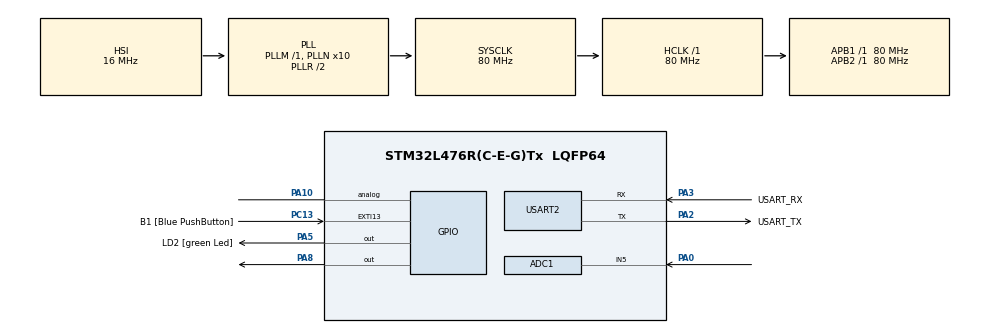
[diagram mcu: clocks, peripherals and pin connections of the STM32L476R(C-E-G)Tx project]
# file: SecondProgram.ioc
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ADC1.Channel-1\#ChannelRegularConversion=ADC_CHANNEL_5
ADC1.DMAContinuousRequests=ENABLE
ADC1.NbrOfConversionFlag=1
ADC1.OffsetNumber-1\#ChannelRegularConversion=ADC_OFFSET_NONE
ADC1.Rank-1\#ChannelRegularConversion=1
ADC1.SamplingTime-1\#ChannelRegularConversion=ADC_SAMPLETIME_2CYCLES_5
ADC1.master=1
Dma.ADC1.0.Direction=DMA_PERIPH_TO_MEMORY
Dma.ADC1.0.Instance=DMA1_Channel1
Dma.ADC1.0.MemDataAlignment=DMA_MDATAALIGN_HALFWORD
Dma.ADC1.0.MemInc=DMA_MINC_ENABLE
Dma.ADC1.0.Mode=DMA_NORMAL
Dma.ADC1.0.PeriphDataAlignment=DMA_PDATAALIGN_HALFWORD
Dma.ADC1.0.PeriphInc=DMA_PINC_DISABLE
Dma.ADC1.0.Priority=DMA_PRIORITY_LOW
Dma.Request0=ADC1
Mcu.Family=STM32L4
Mcu.Name=STM32L476R(C-E-G)Tx
Mcu.Package=LQFP64
NVIC.DMA1_Channel1_IRQn=true\:0\:0\:false\:false\:true\:false\:true
NVIC.PriorityGroup=NVIC_PRIORITYGROUP_4
PA0.Signal=ADCx_IN5
PA10.Signal=GPIO_Analog
PA13\ (JTMS-SWDIO).GPIO_Label=TMS
PA13\ (JTMS-SWDIO).Mode=Serial_Wire
PA13\ (JTMS-SWDIO).Signal=SYS_JTMS-SWDIO
PA14\ (JTCK-SWCLK).GPIO_Label=TCK
PA14\ (JTCK-SWCLK).Mode=Serial_Wire
PA14\ (JTCK-SWCLK).Signal=SYS_JTCK-SWCLK
PA2.GPIO_Label=USART_TX
PA2.GPIO_Mode=GPIO_MODE_AF_PP
PA2.GPIO_PuPd=GPIO_NOPULL
PA2.GPIO_Speed=GPIO_SPEED_FREQ_VERY_HIGH
PA2.Mode=Asynchronous
PA2.Signal=USART2_TX
PA3.GPIO_Label=USART_RX
PA3.GPIO_Mode=GPIO_MODE_AF_PP
PA3.GPIO_PuPd=GPIO_NOPULL
PA3.GPIO_Speed=GPIO_SPEED_FREQ_VERY_HIGH
PA3.Mode=Asynchronous
PA3.Signal=USART2_RX
PA5.GPIO_Label=LD2 [green Led]
PA5.GPIO_ModeDefaultOutputPP=GPIO_MODE_OUTPUT_PP
PA5.GPIO_PuPd=GPIO_NOPULL
PA5.GPIO_Speed=GPIO_SPEED_FREQ_LOW
PA5.Signal=GPIO_Output
PA8.Signal=GPIO_Output
PB3\ (JTDO-TRACESWO).GPIO_Label=SWO
PB3\ (JTDO-TRACESWO).Signal=SYS_JTDO-SWO
PC13.GPIO_Label=B1 [Blue PushButton]
PC13.GPIO_ModeDefaultEXTI=GPIO_MODE_IT_FALLING
PC13.GPIO_PuPd=GPIO_NOPULL
PC13.Signal=GPXTI13
PC14-OSC32_IN\ (PC14).Mode=LSE-External-Oscillator
PC14-OSC32_IN\ (PC14).Signal=RCC_OSC32_IN
PC15-OSC32_OUT\ (PC15).Mode=LSE-External-Oscillator
PC15-OSC32_OUT\ (PC15).Signal=RCC_OSC32_OUT
PH0-OSC_IN\ (PH0).Signal=RCC_OSC_IN
PH1-OSC_OUT\ (PH1).Signal=RCC_OSC_OUT
ProjectManager.HeapSize=0x200
ProjectManager.StackSize=0x400
ProjectManager.TargetToolchain=STM32CubeIDE
RCC.ADCFreq_Value=64000000
RCC.AHBFreq_Value=80000000
RCC.APB1Freq_Value=80000000
RCC.APB1TimFreq_Value=80000000
RCC.APB2Freq_Value=80000000
RCC.APB2TimFreq_Value=80000000
RCC.CortexFreq_Value=80000000
RCC.HCLKFreq_Value=80000000
RCC.HSE_VALUE=8000000
RCC.HSI_VALUE=16000000
RCC.MSI_VALUE=4000000
RCC.PLLN=10
RCC.PLLSourceVirtual=RCC_PLLSOURCE_HSI
RCC.PREFETCH_ENABLE=1
RCC.SYSCLKFreq_VALUE=80000000
RCC.SYSCLKSource=RCC_SYSCLKSOURCE_PLLCLK
RCC.USBFreq_Value=64000000
RCC.VCOOutputFreq_Value=160000000
SH.ADCx_IN5.0=ADC1_IN5,IN5-Single-Ended
TIM4.Period=0xffff
TIM4.Prescaler=80-1
USART2.VirtualMode-Asynchronous=VM_ASYNC
VP_TIM4_VS_ClockSourceINT.Mode=Internal
board=NUCLEO-L476RG

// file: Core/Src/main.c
/* USER CODE BEGIN Header */
/**
  ******************************************************************************
  * @file           : main.c
  * @brief          : Main program body
  ******************************************************************************
  * @attention
  *
  * <h2><center>&copy; Copyright (c) 2021 STMicroelectronics.
  * All rights reserved.</center></h2>
  *
  * This software component is licensed by ST under BSD 3-Clause license,
  * the "License"; You may not use this file except in compliance with the
  * License. You may obtain a copy of the License at:
  *                        opensource.org/licenses/BSD-3-Clause
  *
  ******************************************************************************
  */
/* USER CODE END Header */
#include "main.h"

/* USER CODE BEGIN Includes */
#include "dali.h"
#include "debug.h"
#include <stdio.h>
/* USER CODE END Includes */

ADC_HandleTypeDef hadc1;
DMA_HandleTypeDef hdma_adc1;

TIM_HandleTypeDef htim4;

UART_HandleTypeDef huart2;

/* USER CODE BEGIN PV */
void test(void);
void splitAdd(long input, uint8_t highbyte, uint8_t middlebyte, uint8_t lowbyte);
void initialisation(void);
void busTest(void);
uint16_t maxResponseLevel(void);
uint16_t minResponseLevel(void);
void delay_us(uint16_t us);
void transmit(uint8_t cmd1, uint8_t cmd2);
void sendByte(uint8_t b);
void sendBit(int b);
void sendZero(void);
void sendOne(void);
void scanShortAdd();
uint8_t recieve();

uint16_t CURRENT_TIMER4_COUNT =0;
uint16_t currentMillis = 0;
uint16_t systemMillis = 0;

uint8_t rx_Data[8];
#define BROADCAST_DP 		0b11111110				// Broadcast DIRECT ARC Power Control, BASE ADDRESS
#define OFF_DP 				0b00000000				//0 OFF, repeat=no, answer=no
#define UP_DP  				0b00000001				//1 UP, repeat=no, answer=no
#define DOWN_DP  			0b00000010				//2 DOWN, repeat=no, answer=no
#define STEP_DOWN_DP  		0b00001000				//4 STEP DOWN, repeat=no, answer=no
#define ON_AND_STEP_UP_DP  	0b00001000				//8 ON AND STEP UP, repeat=no, answer=no

#define BROADCAST_C 		0b11111111				// Broadcast INDIRECT (C), BASE ADDRESS
#define OFF_C 				0b00000000				//0 OFF, repeat=no, answer=no
#define UP_C  				0b00000001				//1 UP, repeat=no, answer=no
#define DOWN_C  			0b00000010				//2 DOWN, repeat=no, answer=no
#define STEP_UP_C  			0b00000100				//3 STEP UP, repeat=no, answer=no
#define STEP_DOWN_C  		0b00001000				//4 STEP DOWN, repeat=no, answer=no
#define RECALL_MAX_LEVEL_C 	0b00000101				//5 RECALL MAX LEVEL (Flash), repeat=no, answer=no
#define ON_C 				0b00000101

#define ON_AND_STEP_UP_C  	0b00001000				//8 ON AND STEP UP, repeat=no, answer=no
#define QUERY_STATUS		0b10010000				//144 Query Status, repeat=no, answer=yes
#define RESET 				0b00100000				//22 Reset, repeat=yes, answer=no

/* USER CODE END PV */

void SystemClock_Config(void);
static void MX_GPIO_Init(void);
static void MX_USART2_UART_Init(void);
static void MX_DMA_Init(void);
static void MX_ADC1_Init(void);
static void MX_TIM4_Init(void);

int main(void)
{

  /* MCU Configuration--------------------------------------------------------*/

  /* Reset of all peripherals, Initializes the Flash interface and the Systick. */
  HAL_Init();

  /* USER CODE BEGIN Init */
  //HAL_GPIO_WritePin(GPIOA, GPIO_PIN_10, GPIO_PIN_SET);		//set uitgang standaard hoog bij start

  /* USER CODE END Init */

  /* Configure the system clock */
  SystemClock_Config();

  /* Initialize all configured peripherals */
  MX_GPIO_Init();
  MX_USART2_UART_Init();
  MX_DMA_Init();
  MX_ADC1_Init();
  MX_TIM4_Init();
  /* USER CODE BEGIN 2 */
  printf("Start\r\n");
  HAL_GPIO_WritePin(GPIOA, GPIO_PIN_8, GPIO_PIN_SET);
  msgMode = true;

  //test();
  busTest();
  //initialisation();
  //msgMode = true;
  scanShortAdd();
  getResponse = false;

  /* USER CODE END 2 */

  /* Infinite loop */
  while (1)
  {

    /* USER CODE BEGIN 3 */
	  printf ("Main loop start\r\n");

		 HAL_GPIO_WritePin(GPIOA, GPIO_PIN_8, GPIO_PIN_SET);
		 transmit(BROADCAST_C, OFF_C);

		 HAL_Delay(2000);
		 transmit(BROADCAST_C, ON_AND_STEP_UP_C);
		 //transmit(0x01, 0xA1);
		 HAL_Delay(2000);

		 //HAL_Delay(2000);

		//HAL_ADC_Start(&hadc1);
		 //value_adc = HAL_ADC_GetValue(&hadc1);
		 //printf ("Analog input = %d\r\n", value_adc);

		 //delay_us(delay2);

		 //HAL_ADC_Start(&hadc1);
		 //value_adc = HAL_ADC_GetValue(&hadc1);
		 //printf ("Analog input = %d\r\n", value_adc);

    /* USER CODE BEGIN 3 */
  }
  /* USER CODE END 3 */
}

void SystemClock_Config(void)
{
  RCC_OscInitTypeDef RCC_OscInitStruct = {0};
  RCC_ClkInitTypeDef RCC_ClkInitStruct = {0};

  /** Configure the main internal regulator output voltage
  */
  if (HAL_PWREx_ControlVoltageScaling(PWR_REGULATOR_VOLTAGE_SCALE1) != HAL_OK)
  {
    Error_Handler();
  }
  /** Initializes the RCC Oscillators according to the specified parameters
  * in the RCC_OscInitTypeDef structure.
  */
  RCC_OscInitStruct.OscillatorType = RCC_OSCILLATORTYPE_HSI;
  RCC_OscInitStruct.HSIState = RCC_HSI_ON;
  RCC_OscInitStruct.HSICalibrationValue = RCC_HSICALIBRATION_DEFAULT;
  RCC_OscInitStruct.PLL.PLLState = RCC_PLL_ON;
  RCC_OscInitStruct.PLL.PLLSource = RCC_PLLSOURCE_HSI;
  RCC_OscInitStruct.PLL.PLLM = 1;
  RCC_OscInitStruct.PLL.PLLN = 10;
  RCC_OscInitStruct.PLL.PLLP = RCC_PLLP_DIV7;
  RCC_OscInitStruct.PLL.PLLQ = RCC_PLLQ_DIV2;
  RCC_OscInitStruct.PLL.PLLR = RCC_PLLR_DIV2;
  if (HAL_RCC_OscConfig(&RCC_OscInitStruct) != HAL_OK)
  {
    Error_Handler();
  }
  /** Initializes the CPU, AHB and APB buses clocks
  */
  RCC_ClkInitStruct.ClockType = RCC_CLOCKTYPE_HCLK|RCC_CLOCKTYPE_SYSCLK
                              |RCC_CLOCKTYPE_PCLK1|RCC_CLOCKTYPE_PCLK2;
  RCC_ClkInitStruct.SYSCLKSource = RCC_SYSCLKSOURCE_PLLCLK;
  RCC_ClkInitStruct.AHBCLKDivider = RCC_SYSCLK_DIV1;
  RCC_ClkInitStruct.APB1CLKDivider = RCC_HCLK_DIV1;
  RCC_ClkInitStruct.APB2CLKDivider = RCC_HCLK_DIV1;

  if (HAL_RCC_ClockConfig(&RCC_ClkInitStruct, FLASH_LATENCY_4) != HAL_OK)
  {
    Error_Handler();
  }
}

static void MX_ADC1_Init(void)
{

  ADC_MultiModeTypeDef multimode = {0};
  ADC_ChannelConfTypeDef sConfig = {0};

  /** Common config
  */
  hadc1.Instance = ADC1;
  hadc1.Init.ClockPrescaler = ADC_CLOCK_ASYNC_DIV1;
  hadc1.Init.Resolution = ADC_RESOLUTION_12B;
  hadc1.Init.DataAlign = ADC_DATAALIGN_RIGHT;
  hadc1.Init.ScanConvMode = ADC_SCAN_DISABLE;
  hadc1.Init.EOCSelection = ADC_EOC_SINGLE_CONV;
  hadc1.Init.LowPowerAutoWait = DISABLE;
  hadc1.Init.ContinuousConvMode = DISABLE;
  hadc1.Init.NbrOfConversion = 1;
  hadc1.Init.DiscontinuousConvMode = DISABLE;
  hadc1.Init.ExternalTrigConv = ADC_SOFTWARE_START;
  hadc1.Init.ExternalTrigConvEdge = ADC_EXTERNALTRIGCONVEDGE_NONE;
  hadc1.Init.DMAContinuousRequests = ENABLE;
  hadc1.Init.Overrun = ADC_OVR_DATA_PRESERVED;
  hadc1.Init.OversamplingMode = DISABLE;
  if (HAL_ADC_Init(&hadc1) != HAL_OK)
  {
    Error_Handler();
  }
  /** Configure the ADC multi-mode
  */
  multimode.Mode = ADC_MODE_INDEPENDENT;
  if (HAL_ADCEx_MultiModeConfigChannel(&hadc1, &multimode) != HAL_OK)
  {
    Error_Handler();
  }
  /** Configure Regular Channel
  */
  sConfig.Channel = ADC_CHANNEL_5;
  sConfig.Rank = ADC_REGULAR_RANK_1;
  sConfig.SamplingTime = ADC_SAMPLETIME_2CYCLES_5;
  sConfig.SingleDiff = ADC_SINGLE_ENDED;
  sConfig.OffsetNumber = ADC_OFFSET_NONE;
  sConfig.Offset = 0;
  if (HAL_ADC_ConfigChannel(&hadc1, &sConfig) != HAL_OK)
  {
    Error_Handler();
  }

}

static void MX_TIM4_Init(void)
{

  TIM_ClockConfigTypeDef sClockSourceConfig = {0};
  TIM_MasterConfigTypeDef sMasterConfig = {0};

  htim4.Instance = TIM4;
  htim4.Init.Prescaler = 80-1;
  htim4.Init.CounterMode = TIM_COUNTERMODE_UP;
  htim4.Init.Period = 0xffff;
  htim4.Init.ClockDivision = TIM_CLOCKDIVISION_DIV1;
  htim4.Init.AutoReloadPreload = TIM_AUTORELOAD_PRELOAD_DISABLE;
  if (HAL_TIM_Base_Init(&htim4) != HAL_OK)
  {
    Error_Handler();
  }
  sClockSourceConfig.ClockSource = TIM_CLOCKSOURCE_INTERNAL;
  if (HAL_TIM_ConfigClockSource(&htim4, &sClockSourceConfig) != HAL_OK)
  {
    Error_Handler();
  }
  sMasterConfig.MasterOutputTrigger = TIM_TRGO_RESET;
  sMasterConfig.MasterSlaveMode = TIM_MASTERSLAVEMODE_DISABLE;
  if (HAL_TIMEx_MasterConfigSynchronization(&htim4, &sMasterConfig) != HAL_OK)
  {
    Error_Handler();
  }

}

static void MX_USART2_UART_Init(void)
{

  huart2.Instance = USART2;
  huart2.Init.BaudRate = 115200;
  huart2.Init.WordLength = UART_WORDLENGTH_8B;
  huart2.Init.StopBits = UART_STOPBITS_1;
  huart2.Init.Parity = UART_PARITY_NONE;
  huart2.Init.Mode = UART_MODE_TX_RX;
  huart2.Init.HwFlowCtl = UART_HWCONTROL_NONE;
  huart2.Init.OverSampling = UART_OVERSAMPLING_16;
  huart2.Init.OneBitSampling = UART_ONE_BIT_SAMPLE_DISABLE;
  huart2.AdvancedInit.AdvFeatureInit = UART_ADVFEATURE_NO_INIT;
  if (HAL_UART_Init(&huart2) != HAL_OK)
  {
    Error_Handler();
  }

}

static void MX_DMA_Init(void)
{

  /* DMA controller clock enable */
  __HAL_RCC_DMA1_CLK_ENABLE();

  /* DMA interrupt init */
  /* DMA1_Channel1_IRQn interrupt configuration */
  HAL_NVIC_SetPriority(DMA1_Channel1_IRQn, 0, 0);
  HAL_NVIC_EnableIRQ(DMA1_Channel1_IRQn);

}

static void MX_GPIO_Init(void)
{
  GPIO_InitTypeDef GPIO_InitStruct = {0};

  /* GPIO Ports Clock Enable */
  __HAL_RCC_GPIOC_CLK_ENABLE();
  __HAL_RCC_GPIOH_CLK_ENABLE();
  __HAL_RCC_GPIOA_CLK_ENABLE();
  __HAL_RCC_GPIOB_CLK_ENABLE();

  /*Configure GPIO pin Output Level */
  HAL_GPIO_WritePin(GPIOA, LD2_Pin|GPIO_PIN_8, GPIO_PIN_RESET);

  /*Configure GPIO pin : B1_Pin */
  GPIO_InitStruct.Pin = B1_Pin;
  GPIO_InitStruct.Mode = GPIO_MODE_IT_FALLING;
  GPIO_InitStruct.Pull = GPIO_NOPULL;
  HAL_GPIO_Init(B1_GPIO_Port, &GPIO_InitStruct);

  /*Configure GPIO pins : LD2_Pin PA8 */
  GPIO_InitStruct.Pin = LD2_Pin|GPIO_PIN_8;
  GPIO_InitStruct.Mode = GPIO_MODE_OUTPUT_PP;
  GPIO_InitStruct.Pull = GPIO_NOPULL;
  GPIO_InitStruct.Speed = GPIO_SPEED_FREQ_LOW;
  HAL_GPIO_Init(GPIOA, &GPIO_InitStruct);

  /*Configure GPIO pin : PA10 */
  GPIO_InitStruct.Pin = GPIO_PIN_10;
  GPIO_InitStruct.Mode = GPIO_MODE_ANALOG;
  GPIO_InitStruct.Pull = GPIO_NOPULL;
  HAL_GPIO_Init(GPIOA, &GPIO_InitStruct);

}

/* USER CODE BEGIN 4 */
void initialisation(void)
{
	const int delaytime = 10; //ms
	long low_longadd = 0x000000;
	long high_longadd = 0xFFFFFF;
	long input;
	long longadd = (long)(low_longadd + high_longadd) / 2;
	uint8_t highbyte;
	uint8_t middlebyte;
	uint8_t lowbyte;
	uint8_t short_add = 0;
	//uint8_t cmd2;
	HAL_Delay(delaytime);
	transmit(BROADCAST_C, RESET);
	HAL_Delay(delaytime);
	transmit(BROADCAST_C, RESET);
	HAL_Delay(delaytime);
	transmit(BROADCAST_C, OFF_C);
	HAL_Delay(delaytime);
	transmit(0b10100101, 0b00000000); //initialise
	HAL_Delay(delaytime);
	transmit(0b10100101, 0b00000000); //initialise
	HAL_Delay(delaytime);
	transmit(0b10100111, 0b00000000); //randomise
	HAL_Delay(delaytime);
	transmit(0b10100111, 0b00000000); //randomise
	if (msgMode) {
		printf ("Searching for long addresses:\r\n");
		}
	while (longadd <= 0xFFFFFF - 2 && short_add <= 64) {
		while ((high_longadd - low_longadd) > 1) {

			//splitAdd(longadd, highbyte, middlebyte, lowbyte); //divide 24bit adress into three 8bit adresses
			input = longadd;
			highbyte = input >> 16;
			middlebyte = input >> 8;
			lowbyte = input;
			HAL_Delay(delaytime);
			transmit(0b10110001, highbyte); //search HB
			HAL_Delay(delaytime);
			transmit(0b10110011, middlebyte); //search MB
			HAL_Delay(delaytime);
			transmit(0b10110101, lowbyte); //search LB
			HAL_Delay(delaytime);
			transmit(0b10101001, 0b00000000); //compare

			if (minResponseLevel() > analogLevel)
			{
				low_longadd = longadd;
			}
			else
			{
				high_longadd = longadd;
			}

			longadd = (low_longadd + high_longadd) / 2; //center

			if (msgMode) {
				printf ("BIN: \r\n");
				printf("longadd = %d\r\n", (longadd + 1));
				printf (" \r\n");
				//printf ("DEC: ");
				//printf (longadd + 1, DEC);
				//printf (" ");
				//printf ("HEX: ");
				//printf (longadd + 1, HEX);
				printf("longadd = %p\r\n", (longadd + 1));
				//printf ();
			}
			else {
				//printf (longadd + 1);
				printf("longadd = %d\r\n", (longadd + 1));
			}
		} // second while

		if (high_longadd != 0xFFFFFF)
		{
			//splitAdd(longadd + 1, highbyte, middlebyte, lowbyte);
			input = longadd;
			highbyte = input >> 16;
			middlebyte = input >> 8;
			lowbyte = input;

			transmit(0b10110001, highbyte); //search HB
			HAL_Delay(delaytime);
			transmit(0b10110011, middlebyte); //search MB
			HAL_Delay(delaytime);
			transmit(0b10110101, lowbyte); //search LB
			HAL_Delay(delaytime);
			transmit(0b10110111, 1 + (short_add << 1)); //program short adress
			HAL_Delay(delaytime);
			transmit(0b10101011, 0b00000000); //withdraw
			HAL_Delay(delaytime);
			transmit((1 + (short_add << 1)), ON_C);
			HAL_Delay(1000);
			transmit(1 + (short_add << 1), OFF_C);
			HAL_Delay(delaytime);
			short_add++;

			if (msgMode) {
			printf ("Assigning a short address/r/n");
			}

			high_longadd = 0xFFFFFF;
			longadd = (low_longadd + high_longadd) / 2;

		}
		else {
			if (msgMode) {
				printf ("End/r/n");
			}
		}
	} // first while

	transmit(0b10100001, 0b00000000);  //terminate
	transmit(BROADCAST_C, ON_C);  //broadcast on
}

void splitAdd(long input, uint8_t highbyte, uint8_t middlebyte, uint8_t lowbyte)
{
	highbyte = input >> 16;
	middlebyte = input >> 8;
	lowbyte = input;
}

void busTest(void)
{
	//Luminaries must turn on and turn off. If not, check connection.
	printf("Start bus test\r\n");
	HAL_Delay(100);
	HAL_GPIO_WritePin(GPIOA, GPIO_PIN_8, GPIO_PIN_SET);
	transmit(BROADCAST_C, OFF_C);  //0x00 FE
	printf ("Lampen 2s uit\r\n");
	HAL_Delay(2000);
	transmit(BROADCAST_C, ON_AND_STEP_UP_C);
	printf ("Lampen 2s aan\r\n");  //0x00 DE
	HAL_Delay(2000);
	transmit(BROADCAST_C, OFF_C);
	printf ("Lampen 2s uit\r\n");
	HAL_Delay(2000);
	printf("Einde aansturing lampen\r\n");

	//Receive response from luminaries: max and min level
	//transmit(BROADCAST_C, QUERY_STATUS);
	maxLevel = maxResponseLevel();
	printf("maxResponseLevel = %d\r\n", maxLevel); //0x00 EC EB
	//transmit(BROADCAST_C, QUERY_STATUS);
	minLevel = minResponseLevel();
	printf("minResponseLevel = %d\r\n", minLevel); //0x00 EC EB

	analogLevel = (uint16_t)(maxLevel + minLevel) / 2;
	printf("analogLevel = %d\r\n", analogLevel);
	printf("Einde bus test\r\n");

}

void test(void)
{
	uint8_t number = 0x0000000;
	uint8_t number2 = 0x00000000;
	uint8_t i= 0;
	for (i = 0; i<64; i++){
		HAL_Delay(100);
		number2 = (number << 1) + 1;
		transmit(number2,  QUERY_STATUS);
		HAL_Delay(100);
	}
	HAL_Delay(100);
	transmit(number,  QUERY_STATUS);

}

uint16_t maxResponseLevel(void)
{
	const uint8_t dalistep = 40; //us
	HAL_ADC_Start(&hadc1);
	//HAL_GPIO_WritePin(GPIOA, GPIO_PIN_8, GPIO_PIN_RESET);
	uint16_t rxmax = 0;
	uint32_t dalidata;
	uint32_t idalistep;
	transmit(BROADCAST_C, QUERY_STATUS);
	for (idalistep = 0; idalistep < daliTimeout; idalistep = idalistep + dalistep) {

		dalidata = HAL_ADC_GetValue(&hadc1);

		if (dalidata > rxmax) {
			rxmax = dalidata;
			};
		delay_us(dalistep);
		}
		return rxmax;
}

uint16_t minResponseLevel(void)
{
	const uint8_t dalistep = 40; //us
	uint16_t rxmin = 4095;
	uint16_t dalidata;
	uint32_t idalistep;
	transmit(BROADCAST_C, QUERY_STATUS);
	for (idalistep = 0; idalistep < daliTimeout; idalistep = idalistep + dalistep) {
		HAL_ADC_Start(&hadc1);
		dalidata = HAL_ADC_GetValue(&hadc1);

		if (dalidata < rxmin) {
			rxmin = dalidata;
			};
		delay_us(dalistep);
		}
		return rxmin;
}

/**
  * @brief Setup us delay function with timer 4
  * @retval None
  */
void delay_us(uint16_t us)
{
	__HAL_TIM_SET_COUNTER(&htim4,0);  // set the counter value a 0
	__HAL_TIM_ENABLE(&htim4);
	while (__HAL_TIM_GET_COUNTER(&htim4) < us);  // wait for the counter to reach the us input in the parameter
}

uint32_t micros(void)
{
    systemMillis = __HAL_TIM_GET_COUNTER(&htim4);

     //systemMillis = systemMillis + currentMillis;
     //__HAL_TIM_SET_COUNTER (&htim4, 0);

    return systemMillis;
}

void transmit(uint8_t cmd1, uint8_t cmd2) // transmit commands to DALI bus (address byte, command byte)
{
	sendBit(1);
	sendByte(cmd1);
	sendByte(cmd2);
	HAL_GPIO_WritePin(GPIOA, GPIO_PIN_8, GPIO_PIN_SET);		//digitalWrite(TxPin, HIGH); Set signaal weer hoog wanneer verzonden (STOP)
}

void sendByte(uint8_t b)
{
	for (int i = 7; i >= 0; i--)
	{
		sendBit((b >> i) & 1);
	}
}

void sendBit(int b)
{
 if (b) {
		sendOne();
	}
	else {
		sendZero();
	}
}

void sendZero(void)
{
	HAL_GPIO_WritePin(GPIOA, GPIO_PIN_8, GPIO_PIN_SET);		//digitalWrite(TxPin, HIGH);
	delay_us(delay2);											//delayMicroseconds(delay2);
	HAL_GPIO_WritePin(GPIOA, GPIO_PIN_8, GPIO_PIN_RESET);		//digitalWrite(TxPin, LOW);
	delay_us(delay1);											//delayMicroseconds(delay1);
}

void sendOne(void)
{
	HAL_GPIO_WritePin(GPIOA, GPIO_PIN_8, GPIO_PIN_RESET);		//digitalWrite(TxPin, LOW);
	delay_us(delay2); 											//delayMicroseconds(delay2);
	HAL_GPIO_WritePin(GPIOA, GPIO_PIN_8, GPIO_PIN_SET); 		//digitalWrite(TxPin, HIGH);
	delay_us(delay1);											//delayMicroseconds(delay1);
}

void scanShortAdd()
{
	const uint8_t delayTime = 10;
	const uint8_t start_ind_adres = 0;
	//const uint8_t finish_ind_adres =127;
	uint8_t add_byte;
	uint8_t device_short_add;

	transmit(BROADCAST_C, OFF_C);
	delay_us(delayTime);
	if(msgMode)
	{
		printf ("Short addresses:\r\n");
	}
	for (device_short_add = start_ind_adres; device_short_add <=63; device_short_add++)
	{
		add_byte = 1 + (device_short_add << 1);
		transmit(add_byte, 0xA1);    //1010 0001 ?? A1 moet zijn 91
		uint32_t response = recieve();
		if(getResponse){
			transmit(add_byte, OFF_C);
			HAL_Delay(1000);
			transmit(add_byte, ON_AND_STEP_UP_C);
			HAL_Delay(1000);
			transmit(add_byte, OFF_C);
			HAL_Delay(1000);
		}else {response = 0;}
		HAL_Delay(500);
	}

}

uint8_t recieve()
{

	bool previousLogicLevel = 1;
	bool currentLogicLevel = 1;
	uint8_t arrLength = 20;
	uint8_t timeArray[arrLength];
	uint8_t i = 0;
	uint8_t k = 0;
	bool logicLevelArray[arrLength];
	uint32_t response = 0;
	getResponse=false;

	__HAL_TIM_SET_COUNTER(&htim4,0);  // set the counter value a 0
	__HAL_TIM_ENABLE(&htim4);
	uint32_t startFuncTime = micros();

	while (micros() - startFuncTime < daliTimeout && i < arrLength)
	{
		HAL_ADC_Start(&hadc1);
		uint32_t value = HAL_ADC_GetValue(&hadc1);
		//printf("value = %ld\r\n", value);
		if(value > analogLevel){currentLogicLevel = 1;}else{currentLogicLevel = 0;}
		if (previousLogicLevel != currentLogicLevel){
			timeArray[i] = micros() - startFuncTime;
			logicLevelArray[i] = currentLogicLevel;
			previousLogicLevel = currentLogicLevel;
			getResponse = true;
		}
		arrLength = i;

		//decoding to manchester
		for (i = 0; i < arrLength - 1; i++) {
			if ((timeArray[i + 1] - timeArray[i]) > 0.75 * period) {
				for (k = arrLength; k > i; k--) {
					timeArray[k] = timeArray[k - 1];
					logicLevelArray[k] = logicLevelArray[k - 1];
				}
				arrLength++;
				timeArray[i + 1] = (timeArray[i] + timeArray[i + 2]) / 2;
				logicLevelArray[i + 1] = logicLevelArray[i];
			}

		}
	}
	printf("response = %ld\r\n", response);
	return response;
}

/* USER CODE END 4 */

void Error_Handler(void)
{
  __disable_irq();
  while (1)
  {
  }
}

/************************ (C) COPYRIGHT STMicroelectronics *****END OF FILE****/
